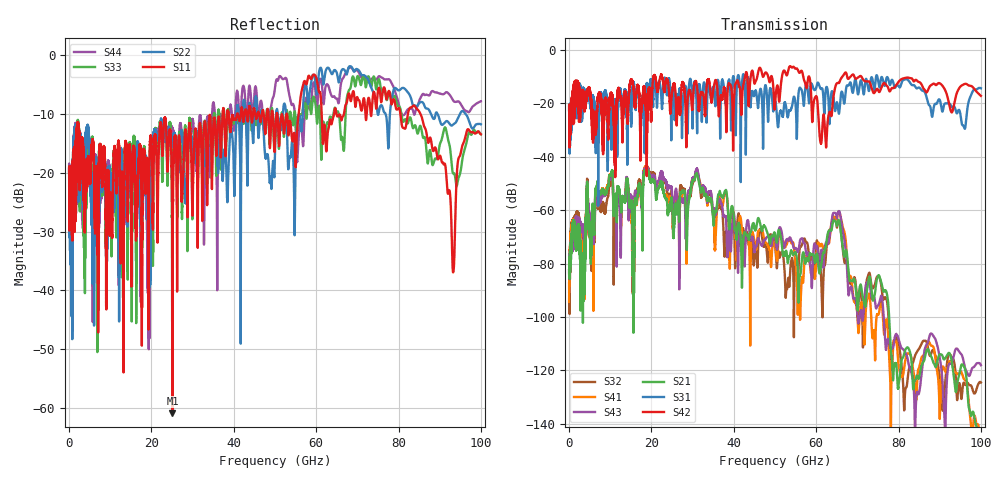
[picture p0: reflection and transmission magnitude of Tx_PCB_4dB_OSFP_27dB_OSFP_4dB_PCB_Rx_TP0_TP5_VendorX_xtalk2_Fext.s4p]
! Info: Touchstone file created by Circ.  Input file=Tx_PCB_4dB_OSFP_27dB_OSFP_4dB_PCB_Rx_TP0_TP5_VendorX.circ
# Hz S RI R 50
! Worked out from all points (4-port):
!   10000 points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, 10 MHz to 100 GHz, reference 50 ohm
!   strongest paths, dB at 10 MHz, 25.01 GHz, 50.01 GHz, 75.01 GHz, 100 GHz:
!     S42: -22.6, -15.9, -20.6, -14.9, -17.2
!     S31: -22.5, -17.3, -19.0, -11.1, -14.3
!     S21: -82.5, -57.1, -68.7, -84.7, -155.1
!     S43: -82.5, -53.4, -69.9, -95.7, -118.0
!     S41: -94.4, -57.3, -71.7, -99.0, -163.1
!     S32: -87.2, -55.9, -73.7, -84.7, -124.5
!   lowest |S11| = -60.9 dB at 25.11 GHz (marker M1), VSWR 1.00, Z = 50 - j0.0865 ohm
!   |S11| at or under -10 dB: start of sweep to 37.28 GHz; 61.34 GHz to 64.34 GHz (3 GHz wide, 4.77 % of centre); 85.34 GHz to end of sweep (the widest 3 of 21)
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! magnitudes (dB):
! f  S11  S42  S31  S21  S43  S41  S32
! 10 MHz  -19.7  -22.6  -22.5  -82.5  -82.5  -94.4  -87.2
! 10.12 GHz  -23.3  -16.3  -24.8  -46.9  -48.2  -46.8  -50.3
! 25.11 GHz  -60.9  -14.6  -14.7  -60.4  -56.4  -61.7  -60.5
! 61.11 GHz  -7.0  -34.9  -14.6  -81.6  -76.0  -73.1  -82.9
! 76.49 GHz  -5.4  -12.3  -12.9  -90.1  -102.2  -106.4  -92.9
! 93.29 GHz  -36.9  -21.9  -21.2  -120.5  -115.5  -119.2  -115.7
! 100 GHz  -13.4  -17.2  -14.3  -155.1  -118.0  -163.1  -124.5
